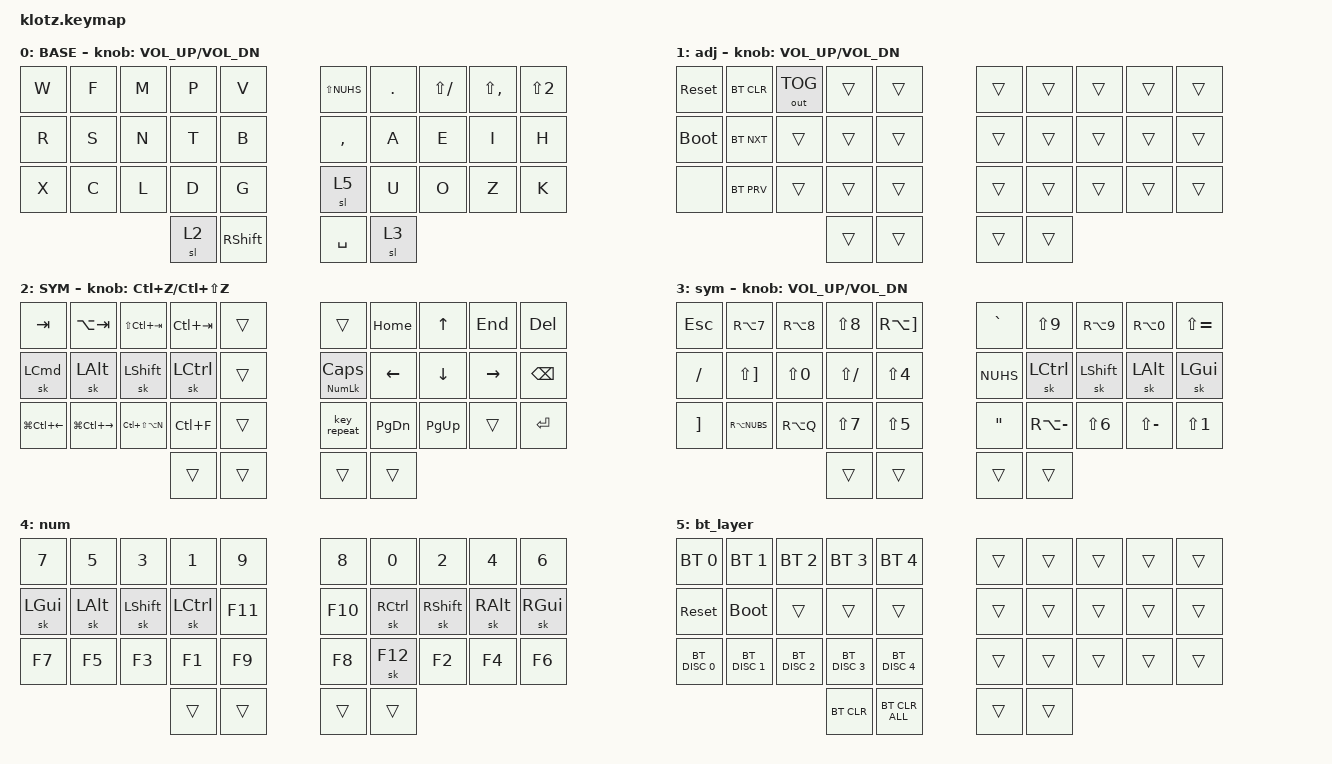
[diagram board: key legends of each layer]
//                                      █         ██        ▄▀▀▀▀▀▀▀▀▀▀█▀▀▀▀▀▀▀▀█▀▀▀▀▀▀▀▀▀▀█
//                                      █        █ █      ▄▀            ▀▄      █         █
//                                      █       █  █    ▄▀                ▀▄    █        █
//                                      █      █   █   █                    █   █       █
//                                      █     █    █   █                    █   █      █
//                                      █    █     █   █                    █   █  ▀▀▀█▀▀▀▀
//                                      █   █ █    █   █                    █   █    █
//                                      █  █   █   █   █                    █   █   █
//                                      █ █     █  █    ▀▄                ▄▀    █  █
//                                      ██       █ █      ▀▄            ▄▀      █ █
//                                      █         ██▄▄▄▄▄▄▄▄█▄▄▄▄▄▄▄▄▄▄▀        ██▄▄▄▄▄▄▄▄▄▄
//
// ▄▄▄▄▄▄▄▄▄▄▄▄▄▄▄▄▄▄▄▄▄▄▄▄▄▄▄▄▄▄▄▄▄▄▄▄▄▄▄▄▄▄▄▄▄▄▄▄▄▄▄▄▄▄▄▄▄▄▄▄▄▄▄▄▄▄▄▄▄▄▄▄▄▄▄▄▄▄▄▄▄▄▄▄▄▄▄▄▄▄▄▄▄▄▄▄▄▄▄▄▄▄▄▄▄▄▄▄▄▄▄▄▄▄▄▄▄▄▄▄▄▄▄▄▄

#include <behaviors.dtsi>
#include <dt-bindings/zmk/bt.h>
#include <dt-bindings/zmk/keys.h>
#include <dt-bindings/zmk/outputs.h>

#define BASE 0
#define NAV  1
#define SYM  2
#define ADJ  3
#define TVP1 4
#define TVP2 5

&mt {
    quick-tap-ms = <100>;
    global-quick-tap;
    flavor = "tap-preferred";
    tapping-term-ms = <170>;
};

/ {
    combos {
        compatible = "zmk,combos";

        combo_overview {
            bindings = <&kp LG(TAB)>;
            key-positions = <1 2>;
        };

        combo_q {
            bindings = <&kp Q>;
            key-positions = <28 26>;
        };

        combo_j {
            bindings = <&kp J>;
            key-positions = <20 23>;
        };

        combo_ae {
            bindings = <&kp SINGLE_QUOTE>;
            key-positions = <16 27>;
        };

        combo_oe {
            bindings = <&kp SEMICOLON>;
            key-positions = <17 27>;
        };

        combo_ue {
            bindings = <&kp LEFT_BRACKET>;
            key-positions = <29 26>;
        };

        combo_sz {
            bindings = <&kp MINUS>;
            key-positions = <10 11>;
        };

        combo_activate_num_layer {
            bindings = <&sl 4>;
            key-positions = <30 33>;
        };

        combo_less_than {
            bindings = <&kp NON_US_BACKSLASH>;
            key-positions = <2 12>;
        };

        combo_greater_than {
            bindings = <&kp LS(NON_US_BACKSLASH)>;
            key-positions = <7 17>;
        };

        letter_z {
            bindings = <&kp Y>;
            key-positions = <21 23>;
        };

        sch {
            bindings = <&sch>;
            key-positions = <21 11>;
        };
    };

    macros {
        gif: gif {
            label = "giphy";
            compatible = "zmk,behavior-macro";
            #binding-cells = <0>;
            bindings =
                <&macro_press>,
                <&kp LSHFT>,
                <&macro_tap>,
                <&kp N2>,
                <&macro_release>,
                <&kp LSHFT>,
                <&macro_tap>,
                <&kp G &kp I &kp F>;
        };

        qusp: qusp {
            label = "quote space";
            compatible = "zmk,behavior-macro";
            #binding-cells = <0>;
            bindings = <&macro_tap>, <&kp DQT>, <&macro_tap>, <&kp SPACE>;
        };

        sqsp: sqsp {
            label = "quote space";
            compatible = "zmk,behavior-macro";
            #binding-cells = <0>;
            bindings = <&macro_tap>, <&kp SQT>, <&macro_tap>, <&kp SPACE>;
        };

        sch: sch {
            compatible = "zmk,behavior-macro";
            #binding-cells = <0>;
            bindings = <&kp S &kp C &kp H>;
            label = "SCH";
        };
    };

    keymap {
        compatible = "zmk,keymap";

        // ▄▄▄▄▄▄▄▄▄▄▄▄▄▄▄▄▄▄▄▄▄▄▄▄▄▄▄▄▄▄▄▄▄▄▄▄▄▄▄▄▄▄▄▄▄▄▄▄▄▄▄▄▄▄▄▄▄▄▄▄▄▄▄▄▄▄▄▄▄▄▄▄▄▄▄▄▄▄▄▄▄▄▄▄▄▄▄▄▄▄▄▄▄▄▄▄▄▄▄▄▄▄▄▄▄▄▄▄▄▄▄▄▄▄▄▄▄▄▄▄▄▄▄▄▄

        base_layer {
            // ┏━━━━━━━━━━━━━━━━━━━━━━━━━━━━━━━━━━━━━━━┓

            label = "BASE";

            // ┗━━━━━━━━━━━━━━━━━━━━━━━━━━━━━━━━━━━━━━━┛
            // ┏━━━━━━━━━━━┳━━━━━━━━━━━┳━━━━━━━━━━━┳━━━━━━━━━━━┳━━━━━━━━━━━┓   ┏━━━━━━━━━━━┳━━━━━━━━━━━┳━━━━━━━━━━━┳━━━━━━━━━━━┳━━━━━━━━━━━┓
            // ┃     Q     ┃     W     ┃     F     ┃     P     ┃     G     ┃   ┃     J     ┃     L     ┃     U     ┃     Y     ┃     ;     ┃
            // ┣━━━━━━━━━━━╋━━━━━━━━━━━╋━━━━━━━━━━━╋━━━━━━━━━━━╋━━━━━━━━━━━┫   ┣━━━━━━━━━━━╋━━━━━━━━━━━╋━━━━━━━━━━━╋━━━━━━━━━━━╋━━━━━━━━━━━┫
            // ┃     A     ┃     R     ┃     S     ┃     T     ┃     D     ┃   ┃     H     ┃     N     ┃     E     ┃     I     ┃     O     ┃
            // ┣━━━━━━━━━━━╋━━━━━━━━━━━╋━━━━━━━━━━━╋━━━━━━━━━━━╋━━━━━━━━━━━┫   ┣━━━━━━━━━━━╋━━━━━━━━━━━╋━━━━━━━━━━━╋━━━━━━━━━━━╋━━━━━━━━━━━┫
            // ┃     Z     ┃     X     ┃     C     ┃     V     ┃     B     ┃   ┃     K     ┃     M     ┃     ,     ┃     .     ┃     /     ┃
            // ┗━━━━━━━━━━━┻━━━━━━━━━━━┻━━━━━━━━━━━╋━━━━━━━━━━━╋━━━━━━━━━━━┫   ┣━━━━━━━━━━━╋━━━━━━━━━━━╋━━━━━━━━━━━┻━━━━━━━━━━━┻━━━━━━━━━━━┛
            //                                     ┃    TAB    ┃    SPC    ┃   ┃   ENTER   ┃   BSPC    ┃
            //                                     ┗━━━━━━━━━━━┻━━━━━━━━━━━┛   ┗━━━━━━━━━━━┻━━━━━━━━━━━┛

            bindings = <
&kp W  &kp F  &kp M  &kp P  &kp V       &kp LS(NUHS)  &kp PERIOD  &kp LS(SLASH)  &kp LS(COMMA)  &kp LS(NUMBER_2)
&kp R  &kp S  &kp N  &kp T  &kp B       &kp COMMA     &kp A       &kp E          &kp I          &kp H
&kp X  &kp C  &kp L  &kp D  &kp G       &sl 5         &kp U       &kp O          &kp Z          &kp K
                     &sl 2  &kp RSHIFT  &kp SPACE     &sl 3
            >;

            sensor-bindings = <&inc_dec_kp C_VOL_UP C_VOL_DN>;
        };

        // ▄▄▄▄▄▄▄▄▄▄▄▄▄▄▄▄▄▄▄▄▄▄▄▄▄▄▄▄▄▄▄▄▄▄▄▄▄▄▄▄▄▄▄▄▄▄▄▄▄▄▄▄▄▄▄▄▄▄▄▄▄▄▄▄▄▄▄▄▄▄▄▄▄▄▄▄▄▄▄▄▄▄▄▄▄▄▄▄▄▄▄▄▄▄▄▄▄▄▄▄▄▄▄▄▄▄▄▄▄▄▄▄▄▄▄▄▄▄▄▄▄▄▄▄▄

        adjust_layer {
            // ┏━━━━━━━━━━━━━━━━━━━━━━━━━━━━━━━━━━━━━━━┓

            label = "adj";

            // ┗━━━━━━━━━━━━━━━━━━━━━━━━━━━━━━━━━━━━━━━┛
            // ┏━━━━━━━━━━━┳━━━━━━━━━━━┳━━━━━━━━━━━┳━━━━━━━━━━━┳━━━━━━━━━━━┓   ┏━━━━━━━━━━━┳━━━━━━━━━━━┳━━━━━━━━━━━┳━━━━━━━━━━━┳━━━━━━━━━━━┓
            // ┃           ┃           ┃     UP    ┃           ┃     {     ┃   ┃     }     ┃     7     ┃     8     ┃     9     ┃     +     ┃
            // ┣━━━━━━━━━━━╋━━━━━━━━━━━╋━━━━━━━━━━━╋━━━━━━━━━━━╋━━━━━━━━━━━┫   ┣━━━━━━━━━━━╋━━━━━━━━━━━╋━━━━━━━━━━━╋━━━━━━━━━━━╋━━━━━━━━━━━┫
            // ┃   SHIFT   ┃   LEFT    ┃    DOWN   ┃   RIGHT   ┃     [     ┃   ┃     ]     ┃     4     ┃     5     ┃     6     ┃     -     ┃
            // ┣━━━━━━━━━━━╋━━━━━━━━━━━╋━━━━━━━━━━━╋━━━━━━━━━━━╋━━━━━━━━━━━┫   ┣━━━━━━━━━━━╋━━━━━━━━━━━╋━━━━━━━━━━━╋━━━━━━━━━━━╋━━━━━━━━━━━┫
            // ┃           ┃   P UP    ┃  C LOCK   ┃  P DOWN   ┃     (     ┃   ┃     )     ┃     1     ┃     2     ┃     3     ┃     *     ┃
            // ┗━━━━━━━━━━━┻━━━━━━━━━━━┻━━━━━━━━━━━╋━━━━━━━━━━━╋━━━━━━━━━━━┫   ┣━━━━━━━━━━━╋━━━━━━━━━━━╋━━━━━━━━━━━┻━━━━━━━━━━━┻━━━━━━━━━━━┛
            //                                     ┃           ┃           ┃   ┃    DEL    ┃     0     ┃  
            //                                     ┗━━━━━━━━━━━┻━━━━━━━━━━━┛   ┗━━━━━━━━━━━┻━━━━━━━━━━━┛

            bindings = <
&sys_reset   &bt BT_CLR  &out OUT_TOG  &trans  &trans  &trans  &trans  &trans  &trans  &trans
&bootloader  &bt BT_NXT  &trans        &trans  &trans  &trans  &trans  &trans  &trans  &trans
&none        &bt BT_PRV  &trans        &trans  &trans  &trans  &trans  &trans  &trans  &trans
                                       &trans  &trans  &trans  &trans
            >;

            sensor-bindings = <&inc_dec_kp C_VOL_UP C_VOL_DN>;
        };

        // ▄▄▄▄▄▄▄▄▄▄▄▄▄▄▄▄▄▄▄▄▄▄▄▄▄▄▄▄▄▄▄▄▄▄▄▄▄▄▄▄▄▄▄▄▄▄▄▄▄▄▄▄▄▄▄▄▄▄▄▄▄▄▄▄▄▄▄▄▄▄▄▄▄▄▄▄▄▄▄▄▄▄▄▄▄▄▄▄▄▄▄▄▄▄▄▄▄▄▄▄▄▄▄▄▄▄▄▄▄▄▄▄▄▄▄▄▄▄▄▄▄▄▄▄▄

        nav_layer {
            // ┏━━━━━━━━━━━━━━━━━━━━━━━━━━━━━━━━━━━━━━━┓

            label = "SYM";

            // ┗━━━━━━━━━━━━━━━━━━━━━━━━━━━━━━━━━━━━━━━┛
            // ┏━━━━━━━━━━━┳━━━━━━━━━━━┳━━━━━━━━━━━┳━━━━━━━━━━━┳━━━━━━━━━━━┓   ┏━━━━━━━━━━━┳━━━━━━━━━━━┳━━━━━━━━━━━┳━━━━━━━━━━━┳━━━━━━━━━━━┓
            // ┃     !     ┃     @     ┃     #     ┃     $     ┃     %     ┃   ┃     ˆ     ┃     &     ┃     Ü     ┃     '     ┃     "     ┃
            // ┣━━━━━━━━━━━╋━━━━━━━━━━━╋━━━━━━━━━━━╋━━━━━━━━━━━╋━━━━━━━━━━━┫   ┣━━━━━━━━━━━╋━━━━━━━━━━━╋━━━━━━━━━━━╋━━━━━━━━━━━╋━━━━━━━━━━━┫
            // ┃     Ä     ┃           ┃    SZ     ┃           ┃           ┃   ┃   MUTE    ┃   YEN     ┃   EURO    ┃  POUND    ┃     Ö     ┃
            // ┣━━━━━━━━━━━╋━━━━━━━━━━━╋━━━━━━━━━━━╋━━━━━━━━━━━╋━━━━━━━━━━━┫   ┣━━━━━━━━━━━╋━━━━━━━━━━━╋━━━━━━━━━━━╋━━━━━━━━━━━╋━━━━━━━━━━━┫
            // ┃  EMAIL1   ┃  EMAIL2   ┃           ┃           ┃           ┃   ┃   VOL-    ┃   VOL+    ┃   LAST    ┃   NEXT    ┃     \     ┃
            // ┗━━━━━━━━━━━┻━━━━━━━━━━━┻━━━━━━━━━━━╋━━━━━━━━━━━╋━━━━━━━━━━━┫   ┣━━━━━━━━━━━╋━━━━━━━━━━━╋━━━━━━━━━━━┻━━━━━━━━━━━┻━━━━━━━━━━━┛
            //                                     ┃    GIF    ┃  ADJUST   ┃   ┃           ┃   PLAY    ┃   
            //                                     ┗━━━━━━━━━━━┻━━━━━━━━━━━┛   ┗━━━━━━━━━━━┻━━━━━━━━━━━┛

            bindings = <
&kp TAB           &kp LA(TAB)        &kp LS(LC(TAB))    &kp LC(TAB)  &trans  &trans           &kp HOME       &kp UP       &kp END    &kp DELETE
&sk LEFT_COMMAND  &sk LEFT_ALT       &sk LEFT_SHIFT     &sk LCTRL    &trans  &mt KP_NUM CAPS  &kp LEFT       &kp DOWN     &kp RIGHT  &kp BACKSPACE
&kp LG(LC(LEFT))  &kp LG(LC(RIGHT))  &kp LC(LS(LA(N)))  &kp LC(F)    &trans  &key_repeat      &kp PAGE_DOWN  &kp PAGE_UP  &trans     &kp ENTER
                                                        &trans       &trans  &trans           &trans
            >;

            sensor-bindings = <&inc_dec_kp LC(Z) LC(LS(Z))>;
        };

        // ▄▄▄▄▄▄▄▄▄▄▄▄▄▄▄▄▄▄▄▄▄▄▄▄▄▄▄▄▄▄▄▄▄▄▄▄▄▄▄▄▄▄▄▄▄▄▄▄▄▄▄▄▄▄▄▄▄▄▄▄▄▄▄▄▄▄▄▄▄▄▄▄▄▄▄▄▄▄▄▄▄▄▄▄▄▄▄▄▄▄▄▄▄▄▄▄▄▄▄▄▄▄▄▄▄▄▄▄▄▄▄▄▄▄▄▄▄▄▄▄▄▄▄▄▄

        sym_layer {
            // ┏━━━━━━━━━━━━━━━━━━━━━━━━━━━━━━━━━━━━━━━┓

            label = "sym";

            // ┗━━━━━━━━━━━━━━━━━━━━━━━━━━━━━━━━━━━━━━━┛
            // ┏━━━━━━━━━━━┳━━━━━━━━━━━┳━━━━━━━━━━━┳━━━━━━━━━━━┳━━━━━━━━━━━┓   ┏━━━━━━━━━━━┳━━━━━━━━━━━┳━━━━━━━━━━━┳━━━━━━━━━━━┳━━━━━━━━━━━┓
            // ┃   RESET   ┃ BT CLEAR  ┃  OUT TOG  ┃           ┃           ┃   ┃           ┃    F7     ┃    F8     ┃    F9     ┃    F12    ┃
            // ┣━━━━━━━━━━━╋━━━━━━━━━━━╋━━━━━━━━━━━╋━━━━━━━━━━━╋━━━━━━━━━━━┫   ┣━━━━━━━━━━━╋━━━━━━━━━━━╋━━━━━━━━━━━╋━━━━━━━━━━━╋━━━━━━━━━━━┫
            // ┃ BOOTLOAD  ┃ BT NEXT   ┃           ┃           ┃           ┃   ┃           ┃    F4     ┃    F5     ┃    F6     ┃    F11    ┃
            // ┣━━━━━━━━━━━╋━━━━━━━━━━━╋━━━━━━━━━━━╋━━━━━━━━━━━╋━━━━━━━━━━━┫   ┣━━━━━━━━━━━╋━━━━━━━━━━━╋━━━━━━━━━━━╋━━━━━━━━━━━╋━━━━━━━━━━━┫
            // ┃           ┃ BT PREV   ┃           ┃           ┃           ┃   ┃           ┃    F1     ┃    F2     ┃    F3     ┃    F10    ┃
            // ┗━━━━━━━━━━━┻━━━━━━━━━━━┻━━━━━━━━━━━╋━━━━━━━━━━━╋━━━━━━━━━━━┫   ┣━━━━━━━━━━━╋━━━━━━━━━━━╋━━━━━━━━━━━┻━━━━━━━━━━━┻━━━━━━━━━━━┛
            //                                     ┃           ┃           ┃   ┃           ┃           ┃
            //                                     ┗━━━━━━━━━━━┻━━━━━━━━━━━┛   ┗━━━━━━━━━━━┻━━━━━━━━━━━┛

            bindings = <
&kp ESCAPE         &kp RA(NUMBER_7)       &kp RA(NUMBER_8)  &kp LS(NUMBER_8)  &kp RA(RIGHT_BRACKET)  &kp GRAVE          &kp LS(NUMBER_9)  &kp RA(NUMBER_9)  &kp RA(NUMBER_0)  &kp LS(EQUAL)
&kp SLASH          &kp LS(RIGHT_BRACKET)  &kp LS(NUMBER_0)  &kp LS(SLASH)     &kp LS(NUMBER_4)       &kp NUHS           &sk LEFT_CONTROL  &sk LEFT_SHIFT    &sk LEFT_ALT      &sk LGUI
&kp RIGHT_BRACKET  &kp RA(NUBS)           &kp RA(Q)         &kp LS(NUMBER_7)  &kp LS(NUMBER_5)       &kp DOUBLE_QUOTES  &kp RA(MINUS)     &kp LS(NUMBER_6)  &kp LS(MINUS)     &kp LS(NUMBER_1)
                                                            &trans            &trans                 &trans             &trans
            >;

            sensor-bindings = <&inc_dec_kp C_VOL_UP C_VOL_DN>;
        };

        // ▄▄▄▄▄▄▄▄▄▄▄▄▄▄▄▄▄▄▄▄▄▄▄▄▄▄▄▄▄▄▄▄▄▄▄▄▄▄▄▄▄▄▄▄▄▄▄▄▄▄▄▄▄▄▄▄▄▄▄▄▄▄▄▄▄▄▄▄▄▄▄▄▄▄▄▄▄▄▄▄▄▄▄▄▄▄▄▄▄▄▄▄▄▄▄▄▄▄▄▄▄▄▄▄▄▄▄▄▄▄▄▄▄▄▄▄▄▄▄▄▄▄▄▄▄

        num_layer {
            // ┏━━━━━━━━━━━━━━━━━━━━━━━━━━━━━━━━━━━━━━━┓

            label = "num";

            // ┗━━━━━━━━━━━━━━━━━━━━━━━━━━━━━━━━━━━━━━━┛
            // ┏━━━━━━━━━━━┳━━━━━━━━━━━┳━━━━━━━━━━━┳━━━━━━━━━━━┳━━━━━━━━━━━┓   ┏━━━━━━━━━━━┳━━━━━━━━━━━┳━━━━━━━━━━━┳━━━━━━━━━━━┳━━━━━━━━━━━┓
            // ┃ NEXT FILE ┃ MARK IN   ┃ ROTATE    ┃ MARK OUT  ┃ SHOW SNAP ┃   ┃           ┃           ┃           ┃           ┃           ┃
            // ┣━━━━━━━━━━━╋━━━━━━━━━━━╋━━━━━━━━━━━╋━━━━━━━━━━━╋━━━━━━━━━━━┫   ┣━━━━━━━━━━━╋━━━━━━━━━━━╋━━━━━━━━━━━╋━━━━━━━━━━━╋━━━━━━━━━━━┫
            // ┃ TVP II    ┃ LEFT      ┃ PAN       ┃ RIGHT     ┃ PLAY/FLIP ┃   ┃           ┃           ┃           ┃           ┃           ┃
            // ┣━━━━━━━━━━━╋━━━━━━━━━━━╋━━━━━━━━━━━╋━━━━━━━━━━━╋━━━━━━━━━━━┫   ┣━━━━━━━━━━━╋━━━━━━━━━━━╋━━━━━━━━━━━╋━━━━━━━━━━━╋━━━━━━━━━━━┫
            // ┃ SHIFT     ┃ COPY      ┃ DELETE    ┃ PASTE     ┃ IMG MARK  ┃   ┃           ┃           ┃           ┃           ┃           ┃
            // ┗━━━━━━━━━━━┻━━━━━━━━━━━┻━━━━━━━━━━━╋━━━━━━━━━━━╋━━━━━━━━━━━┫   ┣━━━━━━━━━━━╋━━━━━━━━━━━╋━━━━━━━━━━━┻━━━━━━━━━━━┻━━━━━━━━━━━┛
            //                                     ┃ UNDO/SAVE ┃  SEL/MOV  ┃   ┃           ┃           ┃
            //                                     ┗━━━━━━━━━━━┻━━━━━━━━━━━┛   ┗━━━━━━━━━━━┻━━━━━━━━━━━┛

            bindings = <
&kp NUMBER_7  &kp NUMBER_5  &kp NUMBER_3    &kp NUMBER_1      &kp NUMBER_9  &kp NUMBER_8  &kp NUMBER_0       &kp NUMBER_2     &kp NUMBER_4   &kp NUMBER_6
&sk LGUI      &sk LEFT_ALT  &sk LEFT_SHIFT  &sk LEFT_CONTROL  &kp F11       &kp F10       &sk RIGHT_CONTROL  &sk RIGHT_SHIFT  &sk RIGHT_ALT  &sk RGUI
&kp F7        &kp F5        &kp F3          &kp F1            &kp F9        &kp F8        &sk F12            &kp F2           &kp F4         &kp F6
                                            &trans            &trans        &trans        &trans
            >;
        };

        bt_layer {
            bindings = <
&bt BT_SEL 0   &bt BT_SEL 1   &bt BT_SEL 2   &bt BT_SEL 3   &bt BT_SEL 4    &trans  &trans  &trans  &trans  &trans
&sys_reset     &bootloader    &trans         &trans         &trans          &trans  &trans  &trans  &trans  &trans
&bt BT_DISC 0  &bt BT_DISC 1  &bt BT_DISC 2  &bt BT_DISC 3  &bt BT_DISC 4   &trans  &trans  &trans  &trans  &trans
                                             &bt BT_CLR     &bt BT_CLR_ALL  &trans  &trans
            >;
        };

        // ▄▄▄▄▄▄▄▄▄▄▄▄▄▄▄▄▄▄▄▄▄▄▄▄▄▄▄▄▄▄▄▄▄▄▄▄▄▄▄▄▄▄▄▄▄▄▄▄▄▄▄▄▄▄▄▄▄▄▄▄▄▄▄▄▄▄▄▄▄▄▄▄▄▄▄▄▄▄▄▄▄▄▄▄▄▄▄▄▄▄▄▄▄▄▄▄▄▄▄▄▄▄▄▄▄▄▄▄▄▄▄▄▄▄▄▄▄▄▄▄▄▄▄▄▄
    };
};
